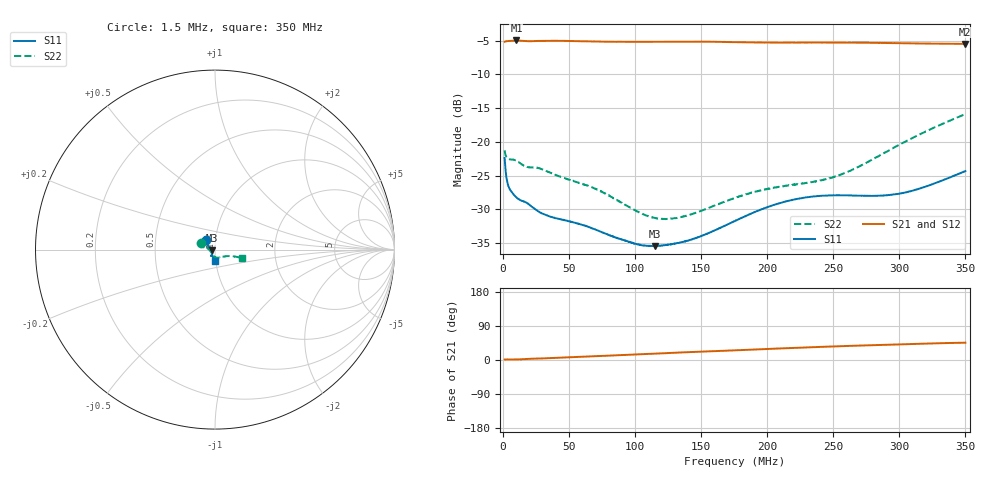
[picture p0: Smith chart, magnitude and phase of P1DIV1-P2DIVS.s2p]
# Hz S RI R 50
! RAW DATA - UNCALIBRATED
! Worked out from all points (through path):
!   1601 points, 1.5 MHz to 350 MHz, reference 50 ohm
!   highest |S21| = -4.98 dB at 10.43 MHz (marker M1); lowest = -5.5 dB at 349.8 MHz (marker M2)
!   lowest |S11| = -35.5 dB at 115.2 MHz (marker M3), VSWR 1.03, Z = 48.4 - j0.325 ohm
!   |S11| at or under -10 dB: start of sweep to end of sweep
!   |S22| runs from -31.5 to -15.9 dB; largest |S21 - S12| = 0.024
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1500000  -0.0526 0.055  0.5512 0.0121  0.5505 0.00562  -0.0773 0.0388
3678125  -0.0415 0.0269  0.5569 0.0149  0.5588 0.0116  -0.0737 0.0183
4767188  -0.04 0.0227  0.5586 0.0131  0.5588 0.00986  -0.073 0.0157
1.043031e7  -0.0355 0.0157  0.5634 0.0142  0.5552 0.0164  -0.0709 0.015
1.783594e7  -0.0327 0.0138  0.5569 0.0254  0.5576 0.0257  -0.0641 0.0135
3.11225e7  -0.0268 0.0114  0.5589 0.0419  0.5519 0.0427  -0.06 0.0154
5.965594e7  -0.0231 0.0076  0.549 0.0836  0.5473 0.0864  -0.0477 0.0104
7.4685e7  -0.0207 0.0059  0.5437 0.1025  0.5392 0.1054  -0.0423 0.0077
9.864438e7  -0.0177 0.000962  0.534 0.1359  0.5277 0.1419  -0.0317 -0.00112
1.151981e8  -0.0165 -0.00336  0.5278 0.1599  0.5206 0.1665  -0.0255 -0.00977
1.178119e8  -0.0165 -0.00407  0.5271 0.1629  0.5191 0.1704  -0.0246 -0.0112
1.273956e8  -0.0161 -0.00662  0.5224 0.1764  0.5158 0.1855  -0.0215 -0.0163
1.389397e8  -0.0156 -0.00982  0.5172 0.1931  0.51 0.2028  -0.0177 -0.0221
1.7575e8  -0.0151 -0.021  0.4937 0.2357  0.4855 0.2478  -0.00444 -0.0382
2.055903e8  -0.0176 -0.0294  0.4713 0.2707  0.4619 0.2838  0.00779 -0.0452
2.339059e8  -0.0209 -0.0333  0.4517 0.3028  0.4409 0.3177  0.0235 -0.0445
2.480638e8  -0.0214 -0.0339  0.4427 0.3161  0.4315 0.3321  0.0339 -0.0421
2.620038e8  -0.021 -0.0342  0.4328 0.3278  0.4232 0.3441  0.0461 -0.0393
2.920619e8  -0.0158 -0.0372  0.4114 0.3488  0.3986 0.3631  0.0784 -0.0358
3.149322e8  -0.01 -0.0438  0.3929 0.3634  0.378 0.379  0.1065 -0.0377
3.497822e8  -0.00115 -0.0606  0.3716 0.3795  0.3529 0.3943  0.1526 -0.0484
3.5e8  -0.00113 -0.0607  0.3719 0.3799  0.353 0.3941  0.1531 -0.0487
